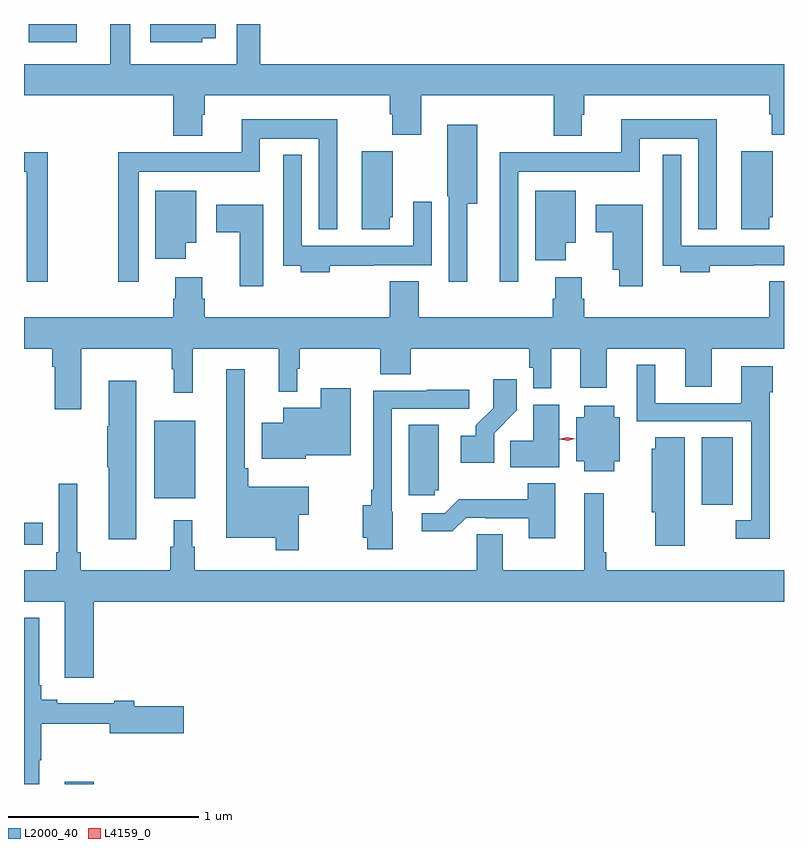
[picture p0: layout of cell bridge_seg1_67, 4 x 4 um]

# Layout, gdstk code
import gdstk
lib = gdstk.Library(unit=1e-6, precision=1e-09)
def R(c, l, rs):  # rectangles x0, y0, x1, y1
    for r in rs: c.add(gdstk.rectangle(r[:2], r[2:], *l))
def P(c, l, *ps):  # polygons
    for p in ps: c.add(gdstk.Polygon(p, *l))
L2000_40 = (2000, 40)
L4159_0 = (4159, 0)

bridge_seg1_67 = lib.new_cell('bridge_seg1_67')
R(bridge_seg1_67, L2000_40, [(529.853,518.804,530.006,518.815), (529.638,520.062,529.736,520.178), (533.204,520.275,533.368,520.628), (530.324,520.307,530.539,520.717), (529.664,522.707,529.915,522.804)])
P(bridge_seg1_67, L2000_40, [(530.577,522.728),(530.647,522.728),(530.647,522.804),(530.303,522.804),(530.303,522.707),(530.577,522.707)],
  [(530.575,522.327),(530.588,522.327),(530.588,522.428),(531.563,522.428),(531.563,522.329),(531.575,522.329),(531.575,522.22),(531.728,522.22),(531.728,522.428),(532.426,522.428),(532.426,522.215),(532.573,522.215),(532.573,522.327),(532.586,522.327),(532.586,522.428),(533.561,522.428),(533.561,522.329),(533.573,522.329),(533.573,522.22),(533.638,522.22),(533.638,522.592),(530.881,522.592),(530.881,522.804),(530.759,522.804),(530.759,522.592),(530.197,522.592),(530.197,522.804),(530.093,522.804),(530.093,522.592),(529.638,522.592),(529.638,522.428),(530.423,522.428),(530.423,522.215),(530.575,522.215)],
  [(530.241,522.026),(530.88,522.026),(530.88,522.2),(531.189,522.2),(531.189,521.723),(531.286,521.723),(531.286,522.304),(530.783,522.304),(530.783,522.13),(530.133,522.13),(530.133,521.448),(530.241,521.448)],
  [(532.239,522.026),(532.878,522.026),(532.878,522.2),(533.187,522.2),(533.187,521.723),(533.284,521.723),(533.284,522.304),(532.781,522.304),(532.781,522.13),(532.143,522.13),(532.143,521.798),(532.142,521.798),(532.142,521.448),(532.239,521.448)],
  [(531.97,521.858),(532.024,521.858),(532.024,522.274),(531.866,522.274),(531.866,521.898),(531.873,521.898),(531.873,521.448),(531.97,521.448)],
  [(533.56,521.787),(533.578,521.787),(533.578,522.135),(533.414,522.135),(533.414,521.724),(533.56,521.724)],
  [(531.562,521.787),(531.58,521.787),(531.58,522.135),(531.416,522.135),(531.416,521.724),(531.562,521.724)],
  [(529.762,522.13),(529.638,522.13),(529.638,522.026),(529.653,522.026),(529.653,521.448),(529.762,521.448)],
  [(531.248,521.532),(531.479,521.532),(531.479,521.534),(531.783,521.534),(531.783,521.869),(531.687,521.869),(531.687,521.638),(531.099,521.638),(531.099,522.115),(531.003,522.115),(531.003,521.532),(531.095,521.532),(531.095,521.498),(531.248,521.498)],
  [(533.246,521.532),(533.477,521.532),(533.477,521.534),(533.638,521.534),(533.638,521.638),(533.097,521.638),(533.097,522.115),(533.001,522.115),(533.001,521.532),(533.093,521.532),(533.093,521.498),(533.246,521.498)],
  [(532.489,521.654),(532.543,521.654),(532.543,521.926),(532.328,521.926),(532.328,521.561),(532.489,521.561)],
  [(530.488,521.654),(530.545,521.654),(530.545,521.926),(530.33,521.926),(530.33,521.568),(530.488,521.568)],
  [(532.894,521.854),(532.647,521.854),(532.647,521.707),(532.736,521.707),(532.736,521.51),(532.772,521.51),(532.772,521.424),(532.894,521.424)],
  [(530.896,521.854),(530.649,521.854),(530.649,521.707),(530.774,521.707),(530.774,521.424),(530.896,521.424)],
  [(529.939,521.096),(530.415,521.096),(530.415,520.988),(530.426,520.988),(530.426,520.863),(530.525,520.863),(530.525,521.096),(530.978,521.096),(530.978,520.868),(531.075,520.868),(531.075,520.989),(531.088,520.989),(531.088,521.096),(531.514,521.096),(531.514,520.96),(531.674,520.96),(531.674,521.096),(532.297,521.096),(532.297,520.995),(532.317,520.995),(532.317,520.886),(532.414,520.886),(532.414,521.096),(532.565,521.096),(532.565,520.89),(532.705,520.89),(532.705,521.096),(533.117,521.096),(533.117,520.894),(533.257,520.894),(533.257,521.096),(533.638,521.096),(533.638,521.449),(533.561,521.449),(533.561,521.26),(532.586,521.26),(532.586,521.358),(532.573,521.358),(532.573,521.472),(532.433,521.472),(532.433,521.358),(532.421,521.358),(532.421,521.26),(531.715,521.26),(531.715,521.449),(531.563,521.449),(531.563,521.26),(530.588,521.26),(530.588,521.358),(530.575,521.358),(530.575,521.472),(530.435,521.472),(530.435,521.358),(530.423,521.358),(530.423,521.26),(529.638,521.26),(529.638,521.096),(529.787,521.096),(529.787,521),(529.799,521),(529.799,520.776),(529.939,520.776)],
  [(533.562,520.866),(533.578,520.866),(533.578,521.002),(533.414,521.002),(533.414,520.809),(532.96,520.809),(532.96,521.011),(532.862,521.011),(532.862,520.713),(533.466,520.713),(533.466,520.191),(533.385,520.191),(533.385,520.094),(533.562,520.094)],
  [(531.085,520.222),(531.136,520.222),(531.136,520.369),(530.819,520.369),(530.819,520.465),(530.799,520.465),(530.799,520.987),(530.702,520.987),(530.702,520.1),(530.964,520.1),(530.964,520.035),(531.085,520.035)],
  [(532.113,520.651),(532.232,520.77),(532.232,520.933),(532.107,520.933),(532.107,520.781),(532.016,520.691),(532.016,520.636),(531.936,520.636),(531.936,520.496),(532.113,520.496)],
  [(530.23,520.927),(530.084,520.927),(530.084,520.688),(530.077,520.688),(530.077,520.471),(530.084,520.471),(530.084,520.092),(530.23,520.092)],
  [(531.12,520.535),(531.358,520.535),(531.358,520.888),(531.2,520.888),(531.2,520.783),(531.002,520.783),(531.002,520.705),(530.888,520.705),(530.888,520.517),(531.12,520.517)],
  [(531.58,520.236),(531.573,520.236),(531.573,520.779),(531.982,520.779),(531.982,520.878),(531.757,520.878),(531.757,520.875),(531.477,520.875),(531.477,520.354),(531.465,520.354),(531.465,520.27),(531.422,520.27),(531.422,520.1),(531.444,520.1),(531.444,520.04),(531.58,520.04)],
  [(532.456,520.801),(532.319,520.801),(532.319,520.61),(532.198,520.61),(532.198,520.472),(532.456,520.472)],
  [(532.744,520.502),(532.774,520.502),(532.774,520.735),(532.744,520.735),(532.744,520.795),(532.586,520.795),(532.586,520.735),(532.544,520.735),(532.544,520.502),(532.586,520.502),(532.586,520.451),(532.744,520.451)],
  [(531.801,520.35),(531.82,520.35),(531.82,520.694),(531.662,520.694),(531.662,520.323),(531.801,520.323)],
  [(533.116,520.628),(532.961,520.628),(532.961,520.569),(532.943,520.569),(532.943,520.233),(532.961,520.233),(532.961,520.059),(533.116,520.059)],
  [(532.435,520.387),(532.288,520.387),(532.288,520.303),(531.925,520.303),(531.852,520.23),(531.732,520.23),(531.732,520.133),(531.893,520.133),(531.966,520.206),(532.066,520.206),(532.066,520.203),(532.295,520.203),(532.295,520.097),(532.435,520.097)],
  [(530.006,519.764),(533.638,519.764),(533.638,519.928),(532.703,519.928),(532.703,520.024),(532.688,520.024),(532.688,520.333),(532.586,520.333),(532.586,519.928),(532.159,519.928),(532.159,520.118),(532.02,520.118),(532.02,519.928),(530.536,519.928),(530.536,520.052),(530.524,520.052),(530.524,520.192),(530.426,520.192),(530.426,520.052),(530.407,520.052),(530.407,519.928),(529.937,519.928),(529.937,520.024),(529.918,520.024),(529.918,520.384),(529.821,520.384),(529.821,520.024),(529.808,520.024),(529.808,519.928),(529.638,519.928),(529.638,519.764),(529.853,519.764),(529.853,519.363),(530.006,519.363)],
  [(529.717,518.93),(529.73,518.93),(529.73,519.12),(530.09,519.12),(530.09,519.07),(530.479,519.07),(530.479,519.212),(530.218,519.212),(530.218,519.241),(530.114,519.241),(530.114,519.229),(529.813,519.229),(529.813,519.248),(529.73,519.248),(529.73,519.325),(529.717,519.325),(529.717,519.679),(529.638,519.679),(529.638,518.804),(529.717,518.804)])
P(bridge_seg1_67, L4159_0, [(532.499,520.61),(532.459,520.619),(532.459,520.619),(532.459,520.62),(532.498,520.63),(532.538,520.621),(532.538,520.621),(532.538,520.621)])

lib.write_gds('bridge_seg1_67.gds')
